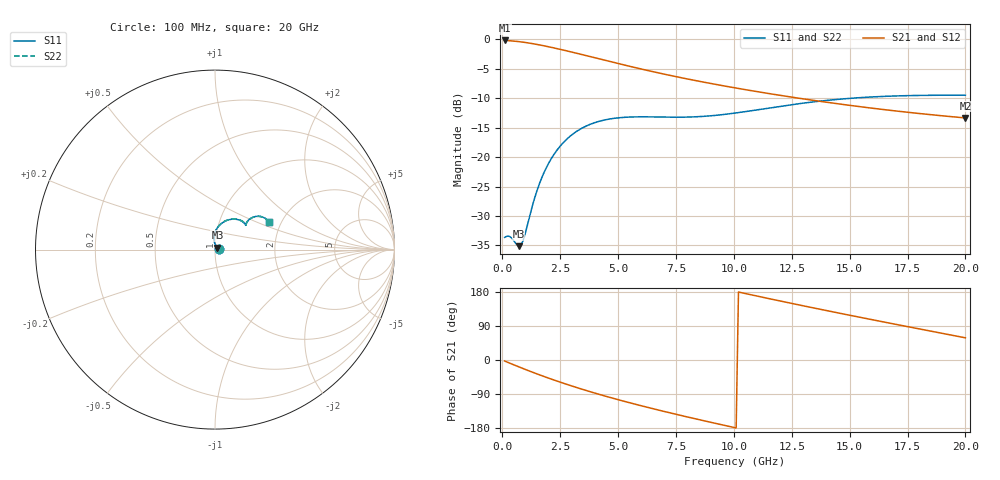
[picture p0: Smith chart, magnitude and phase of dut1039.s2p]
! Touchstone file exported from HFSS 2024.1.0
!  File:  C:/UserFiles/LocalFiles/RDL_TSV_Batchsim/temp_RDL_TSV_1039_1780085467.aedt
!  Generated:  04:26:20 AM May 30, 2026
!  Design:  RDL_TSV
!  Project:  temp_RDL_TSV_1039_1780085467
!  Setup:  Setup1
!  Solution:  Sweep
! Variables:
!  dtsv = 11.69um
!  hbump = 3um
!  htsv = 87.54um
!  ldown = 617.97um
!  lrdl = 641.43um
!  p = 40
!  p1 = 49.39um
!  rhole = 10um
!  subl = 4419.63um
!  t = 450um
!  tdown = 3.62um
!  trdl = 3.52um
!  viad = 10um
!  wdown = 21.09um
!  wrdl = 21.97um
!  xbump = 18um
# GHz S MA R 50.000000
! Terminal data exported
! Port[1] = TM1_1_T1
! Port[2] = TM1_4_T1
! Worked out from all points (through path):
!   200 points, 100 MHz to 20 GHz, reference 50 ohm
!   highest |S21| = -0.19 dB at 100 MHz (marker M1); lowest = -13.3 dB at 20 GHz (marker M2)
!   group delay of S21, straight-line fit = 39.7 ps
!   lowest |S11| = -35.1 dB at 700 MHz (marker M3), VSWR 1.04, Z = 51.3 + j1.18 ohm
!   |S11| at or under -10 dB: start of sweep to 15.08 GHz
!   |S22| runs from -35.1 to -9.5 dB; largest |S21 - S12| = 1.6e-14
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0.1  0.02082 5.9  0.9787 -2.6  0.9787 -2.6  0.02082 5.9
! Gamma 0 0 0 0
! Port Impedance 50 0 50 0
0.3  0.02128 13.3  0.9736 -7.8  0.9736 -7.8  0.02127 13.3
0.7  0.01753 40.8  0.9574 -17.8  0.9574 -17.8  0.0175 41.0
0.8  0.01782 54.0  0.9522 -20.2  0.9522 -20.2  0.01781 54.3
0.9  0.01957 67.2  0.9466 -22.7  0.9466 -22.7  0.01958 67.5
1.5  0.05203 95.7  0.9054 -36.8  0.9054 -36.8  0.05227 95.9
1.7  0.06642 95.0  0.8898 -41.3  0.8898 -41.3  0.06674 95.2
2  0.08858 91.5  0.8652 -47.9  0.8652 -47.9  0.08902 91.7
2.3  0.1102 86.7  0.8399 -54.3  0.8399 -54.3  0.1108 86.9
2.7  0.1369 79.9  0.8057 -62.6  0.8057 -62.6  0.1376 80.0
3.5  0.1787 66.7  0.738 -78.2  0.738 -78.2  0.1798 66.9
4.3  0.2042 55.9  0.6744 -92.7  0.6744 -92.7  0.2056 56.1
5.1  0.2164 47.8  0.6167 -106.4  0.6167 -106.4  0.218 47.9
5.9  0.2198 42.4  0.5658 -119.2  0.5658 -119.2  0.2216 42.4
6.8  0.219 39.1  0.5161 -132.9  0.5161 -132.9  0.2208 39.1
8.3  0.2198 38.7  0.4484 -154.6  0.4484 -154.6  0.2215 38.6
10.1  0.2373 41.0  0.3858 -179.3  0.3858 -179.3  0.2387 40.8
11.7  0.2644 41.2  0.3418 159.6  0.3418 159.6  0.2655 41.0
13.4  0.2939 39.0  0.3041 137.9  0.3041 137.9  0.2948 38.8
15  0.3154 35.6  0.2752 118.1  0.2752 118.1  0.3162 35.5
16.7  0.3292 31.9  0.2503 97.6  0.2503 97.6  0.33 31.9
20  0.3355 26.9  0.2151 58.6  0.2151 58.6  0.3363 26.9
